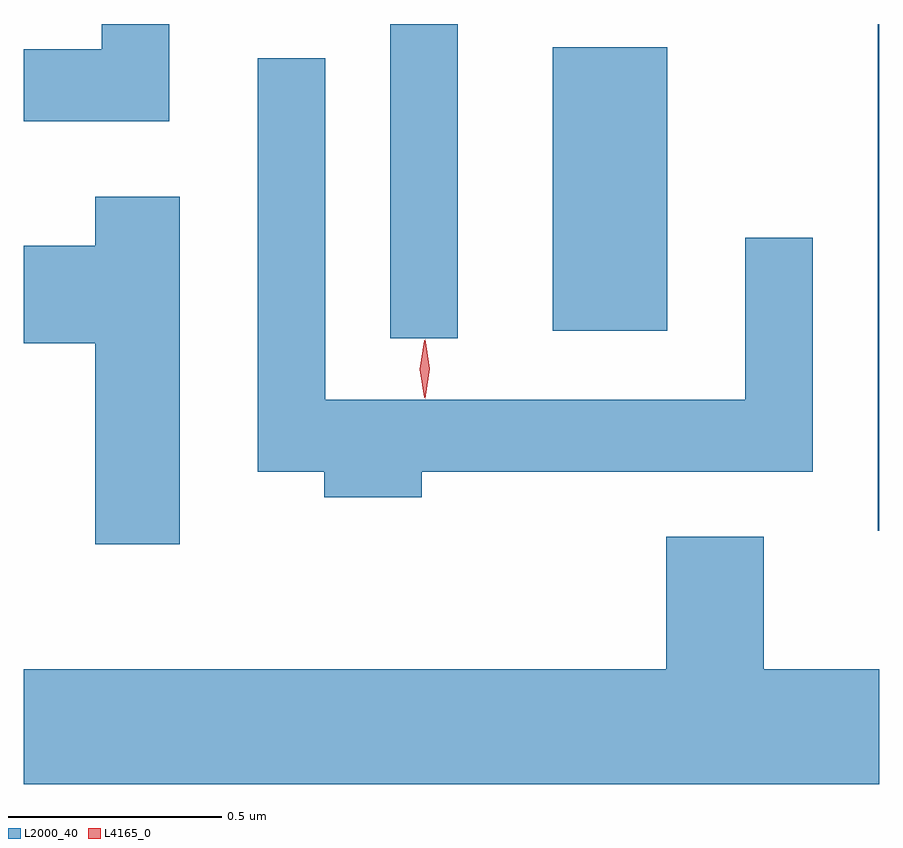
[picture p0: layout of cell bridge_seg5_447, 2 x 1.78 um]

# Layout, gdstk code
import gdstk
lib = gdstk.Library(unit=1e-6, precision=1e-09)
def R(c, l, rs):  # rectangles x0, y0, x1, y1
    for r in rs: c.add(gdstk.rectangle(r[:2], r[2:], *l))
def P(c, l, *ps):  # polygons
    for p in ps: c.add(gdstk.Polygon(p, *l))
L2000_40 = (2000, 40)
L4165_0 = (4165, 0)

bridge_seg5_447 = lib.new_cell('bridge_seg5_447')
R(bridge_seg5_447, L2000_40, [(546.426,1517.328,546.429,1518.513), (545.286,1517.778,545.444,1518.513), (545.666,1517.796,545.934,1518.459)])
P(bridge_seg5_447, L2000_40, [(544.769,1518.513),(544.611,1518.513),(544.611,1518.454),(544.429,1518.454),(544.429,1518.286),(544.769,1518.286)],
  [(545.359,1517.466),(546.274,1517.466),(546.274,1518.013),(546.116,1518.013),(546.116,1517.634),(545.134,1517.634),(545.134,1518.433),(544.976,1518.433),(544.976,1517.466),(545.131,1517.466),(545.131,1517.406),(545.359,1517.406)],
  [(544.794,1518.109),(544.596,1518.109),(544.596,1517.994),(544.429,1517.994),(544.429,1517.766),(544.596,1517.766),(544.596,1517.296),(544.794,1517.296)],
  [(546.429,1517.004),(546.159,1517.004),(546.159,1517.314),(545.931,1517.314),(545.931,1517.004),(544.429,1517.004),(544.429,1516.736),(546.429,1516.736)])
P(bridge_seg5_447, L4165_0, [(545.368,1517.637),(545.368,1517.637),(545.358,1517.707),(545.368,1517.776),(545.368,1517.776),(545.368,1517.776),(545.378,1517.707),(545.368,1517.637)],
  [(545.365,1517.639),(545.365,1517.64),(545.355,1517.706),(545.365,1517.772),(545.365,1517.773),(545.366,1517.772),(545.375,1517.706),(545.366,1517.64)])

lib.write_gds('bridge_seg5_447.gds')
